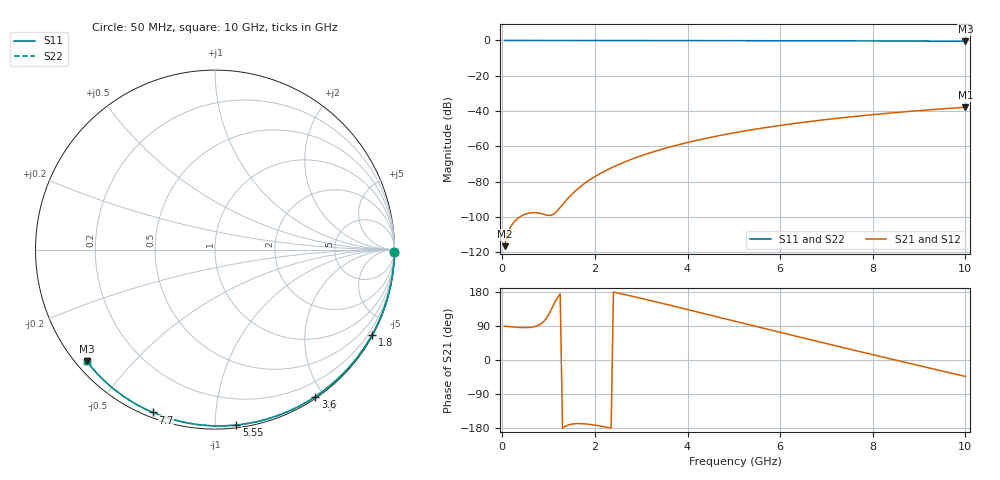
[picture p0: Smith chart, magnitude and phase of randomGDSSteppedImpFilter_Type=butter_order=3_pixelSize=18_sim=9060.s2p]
! freq	dB(S11)	phase(S11)	dB(S12)	phase(S12)
!  dB(S21)	phase(S21)	dB(S22)	phase(S22)
!S-par simulation data
#  GHz  S  DB  R 50
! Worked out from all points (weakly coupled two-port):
!   200 points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, 50 MHz to 10 GHz, reference 50 ohm
!   highest |S21| = -37.88 dB at 10 GHz (marker M1); lowest = -116.6 dB at 50 MHz (marker M2)
!   lowest |S11| = -0.5 dB at 10 GHz (marker M3), VSWR 36.98, Z = 1.54 - j18.7 ohm
!   |S11| at or under -10 dB: nowhere
!   |S22| runs from -0.5 to 0.0 dB; largest |S21 - S12| = 0
!   S11 on the Smith chart (normalised r, x): 50 MHz: open; 1.8 GHz: 0.03, -3.93; 3.6 GHz: 0.02, -1.89; 5.55 GHz: 0.02, -1.13; 7.7 GHz: 0.02, -0.69; 10 GHz: 0.03, -0.37
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0.05  -0.00 -0.8  -116.63 89.3  -116.63 89.3  -0.00 -0.8
0.45  -0.01 -7.2  -98.98 85.4  -98.98 85.4  -0.01 -7.2
0.9  -0.02 -14.4  -98.59 102.4  -98.59 102.4  -0.02 -14.4
1.75  -0.04 -27.7  -81.58 -168.3  -81.58 -168.3  -0.04 -27.7
1.8  -0.04 -28.5  -80.62 -168.8  -80.62 -168.8  -0.04 -28.5
1.85  -0.04 -29.3  -79.70 -169.4  -79.70 -169.4  -0.04 -29.3
2.05  -0.04 -32.4  -76.40 -172.8  -76.40 -172.8  -0.04 -32.4
2.25  -0.05 -35.5  -73.55 -177.2  -73.55 -177.2  -0.05 -35.5
2.55  -0.05 -40.0  -69.89 175.2  -69.89 175.2  -0.05 -40.0
2.95  -0.06 -46.1  -65.82 164.2  -65.82 164.2  -0.06 -46.1
3.4  -0.07 -52.8  -62.03 151.1  -62.03 151.1  -0.07 -52.8
3.6  -0.07 -55.7  -60.54 145.2  -60.54 145.2  -0.07 -55.7
3.9  -0.08 -60.1  -58.49 136.2  -58.49 136.2  -0.08 -60.1
4.3  -0.09 -65.8  -56.04 124.2  -56.04 124.2  -0.09 -65.8
5.05  -0.12 -76.3  -52.15 101.6  -52.15 101.6  -0.12 -76.3
5.55  -0.14 -83.1  -49.95 86.5  -49.95 86.5  -0.14 -83.1
6.1  -0.16 -90.4  -47.80 70.0  -47.80 70.0  -0.16 -90.4
6.7  -0.19 -98.2  -45.75 52.2  -45.75 52.2  -0.19 -98.2
7.7  -0.25 -110.9  -42.83 22.8  -42.83 22.8  -0.25 -110.9
8.35  -0.30 -119.0  -41.21 4.0  -41.21 4.0  -0.30 -119.0
9.2  -0.38 -129.3  -39.36 -20.5  -39.36 -20.5  -0.38 -129.3
10  -0.47 -139.0  -37.88 -43.4  -37.88 -43.4  -0.47 -139.1
